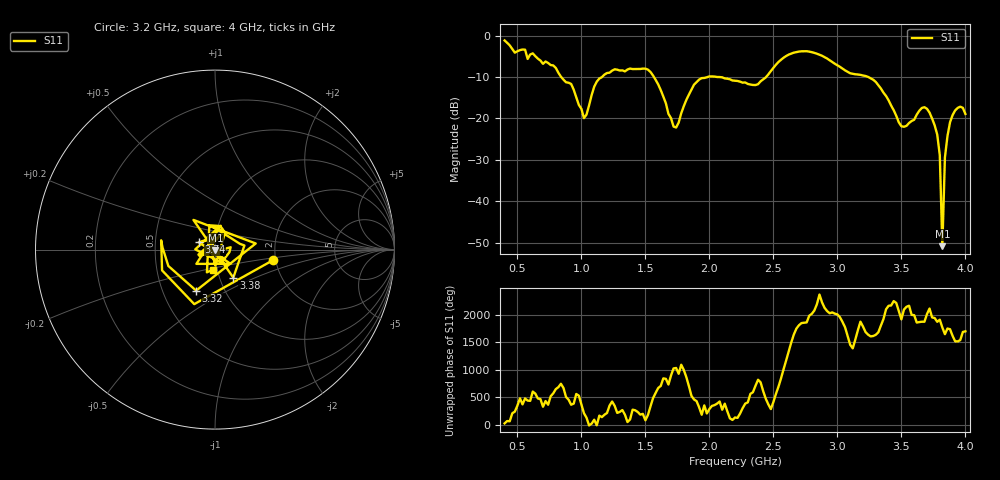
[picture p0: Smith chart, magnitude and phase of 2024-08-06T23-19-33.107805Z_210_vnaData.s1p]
!Created with skrf (http://scikit-rf.org).
# Hz S RI R 50.0
!freq ReS11 ImS11
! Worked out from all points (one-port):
!   181 points, 400 MHz to 4 GHz, reference 50 ohm
!   lowest |S11| = -50.8 dB at 3.82 GHz (marker M1), VSWR 1.01, Z = 50.3 - j0.137 ohm
!   |S11| at or under -10 dB: 1.567 GHz to 1.987 GHz (420.3 MHz wide, 23.7 % of centre); 2.06 GHz to 2.443 GHz (383.7 MHz wide, 17 % of centre); 3.241 GHz to end of sweep (the widest 3 of 4)
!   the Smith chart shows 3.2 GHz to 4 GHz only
!   S11 on the Smith chart (normalised r, x): 3.2 GHz: 1.94, -0.25; 3.32 GHz: 0.74, -0.36; 3.38 GHz: 1.16, -0.38; 3.74 GHz: 0.83, +0.07; 4 GHz: 0.95, -0.22
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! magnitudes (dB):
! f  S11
! 400 MHz  -1.2
! 860 MHz  -10.6
! 920 MHz  -11.7
! 1.02 GHz  -19.9
! 1.12 GHz  -11.1
! 1.3 GHz  -8.4
! 1.52 GHz  -8.2
! 1.72 GHz  -22.0
! 1.76 GHz  -21.0
! 1.92 GHz  -10.6
! 2.2 GHz  -10.9
! 2.38 GHz  -11.7
! 2.66 GHz  -4.1
! 3.1 GHz  -9.1
! 3.2 GHz  -9.6
! 3.32 GHz  -12.0
! 3.38 GHz  -14.6
! 3.5 GHz  -21.9
! 3.56 GHz  -21.1
! 3.68 GHz  -17.3
! 3.74 GHz  -20.0
! 3.78 GHz  -23.9
! 3.8 GHz  -28.9
! 3.82 GHz  -50.8
! 3.84 GHz  -29.4
! 3.86 GHz  -24.2
! 3.92 GHz  -18.1
! 4 GHz  -18.9
